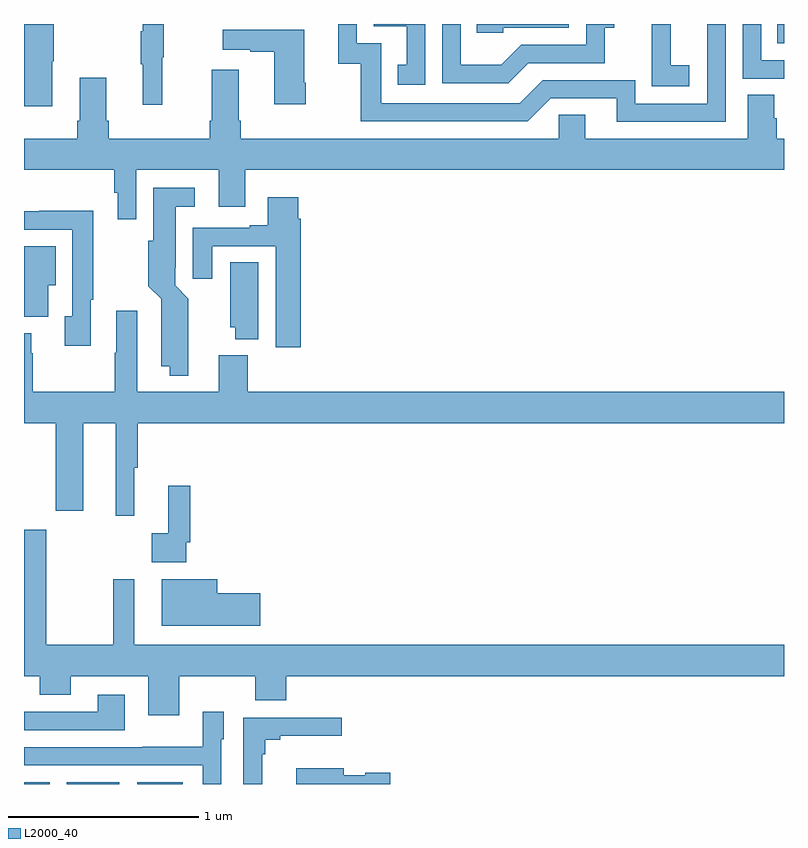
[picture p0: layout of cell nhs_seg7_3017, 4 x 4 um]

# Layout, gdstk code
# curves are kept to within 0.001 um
import gdstk
lib = gdstk.Library(unit=1e-6, precision=1e-09)
def R(c, l, rs):  # rectangles x0, y0, x1, y1
    for r in rs: c.add(gdstk.rectangle(r[:2], r[2:], *l))
def P(c, l, *ps):  # polygons
    for p in ps: c.add(gdstk.Polygon(p, *l))
L2000_40 = (2000, 40)

nhs_seg7_3017 = lib.new_cell('nhs_seg7_3017')
R(nhs_seg7_3017, L2000_40, [(303,1048,303.135,1048.008), (303.224,1048,303.502,1048.009), (303.596,1048,303.835,1048.009), (306.964,1051.898,307,1052)])
P(nhs_seg7_3017, L2000_40, [(307,1051.809),(306.879,1051.809),(306.879,1052),(306.783,1052),(306.783,1051.713),(307,1051.713)],
  [(305.112,1052),(304.842,1052),(304.842,1051.989),(305.015,1051.989),(305.015,1051.785),(304.966,1051.785),(304.966,1051.68),(305.112,1051.68)],
  [(303.148,1051.803),(303.156,1051.803),(303.156,1052),(303,1052),(303,1051.566),(303.148,1051.566)],
  [(303.728,1051.824),(303.736,1051.824),(303.736,1052),(303.626,1052),(303.626,1051.961),(303.615,1051.961),(303.615,1051.787),(303.626,1051.787),(303.626,1051.575),(303.728,1051.575)],
  [(305.653,1051.794),(306.057,1051.794),(306.057,1051.979),(306.106,1051.979),(306.106,1052),(305.958,1052),(305.958,1051.89),(305.616,1051.89),(305.512,1051.786),(305.298,1051.786),(305.298,1052),(305.202,1052),(305.202,1051.689),(305.548,1051.689)],
  [(305.523,1051.98),(305.868,1051.98),(305.868,1052),(305.383,1052),(305.383,1051.953),(305.523,1051.953)],
  [(306.502,1051.783),(306.404,1051.783),(306.404,1052),(306.305,1052),(306.305,1051.879),(306.304,1051.879),(306.304,1051.673),(306.502,1051.673)],
  [(306.693,1052),(306.597,1052),(306.597,1051.581),(306.216,1051.581),(306.216,1051.704),(305.73,1051.704),(305.61,1051.584),(304.881,1051.584),(304.881,1051.899),(304.752,1051.899),(304.752,1052),(304.655,1052),(304.655,1051.791),(304.773,1051.791),(304.773,1051.488),(305.652,1051.488),(305.772,1051.608),(306.119,1051.608),(306.119,1051.485),(306.693,1051.485)],
  [(304.482,1051.69),(304.474,1051.69),(304.474,1051.969),(304.047,1051.969),(304.047,1051.865),(304.19,1051.865),(304.19,1051.855),(304.316,1051.855),(304.316,1051.578),(304.482,1051.578)],
  [(303.591,1051.232),(304.025,1051.232),(304.025,1051.038),(304.165,1051.038),(304.165,1051.232),(307,1051.232),(307,1051.396),(306.962,1051.396),(306.962,1051.505),(306.948,1051.505),(306.948,1051.628),(306.809,1051.628),(306.809,1051.396),(305.953,1051.396),(305.953,1051.523),(305.814,1051.523),(305.814,1051.396),(304.142,1051.396),(304.142,1051.492),(304.129,1051.492),(304.129,1051.759),(303.989,1051.759),(303.989,1051.492),(303.977,1051.492),(303.977,1051.396),(303.446,1051.396),(303.446,1051.492),(303.433,1051.492),(303.433,1051.717),(303.293,1051.717),(303.293,1051.492),(303.281,1051.492),(303.281,1051.396),(303,1051.396),(303,1051.232),(303.475,1051.232),(303.475,1051.111),(303.494,1051.111),(303.494,1050.972),(303.591,1050.972)],
  [(303.864,1050.452),(303.865,1050.554),(303.795,1050.624),(303.795,1050.718),(303.799,1050.718),(303.799,1051.037),(303.898,1051.037),(303.898,1051.138),(303.68,1051.138),(303.68,1050.858),(303.655,1050.858),(303.655,1050.621),(303.722,1050.554),(303.722,1050.2),(303.767,1050.2),(303.767,1050.149),(303.864,1050.149)],
  [(304.457,1050.974),(304.444,1050.974),(304.444,1051.087),(304.283,1051.087),(304.283,1050.94),(304.187,1050.94),(304.187,1050.927),(303.887,1050.927),(303.887,1050.66),(303.991,1050.66),(303.991,1050.831),(304.325,1050.831),(304.325,1050.3),(304.457,1050.3)],
  [(303.352,1050.55),(303.364,1050.55),(303.364,1051.016),(303.079,1051.016),(303.079,1051.014),(303,1051.014),(303,1050.918),(303.255,1050.918),(303.255,1050.462),(303.215,1050.462),(303.215,1050.306),(303.352,1050.306)],
  [(303.127,1050.626),(303.166,1050.626),(303.166,1050.829),(303,1050.829),(303,1050.458),(303.127,1050.458)],
  [(304.234,1050.746),(304.085,1050.746),(304.085,1050.405),(304.112,1050.405),(304.112,1050.341),(304.234,1050.341)],
  [(303.599,1049.9),(307,1049.9),(307,1050.064),(304.178,1050.064),(304.178,1050.256),(304.025,1050.256),(304.025,1050.064),(303.595,1050.064),(303.595,1050.49),(303.485,1050.49),(303.485,1050.269),(303.478,1050.269),(303.478,1050.064),(303.045,1050.064),(303.045,1050.266),(303.037,1050.266),(303.037,1050.373),(303,1050.373),(303,1049.9),(303.166,1049.9),(303.166,1049.439),(303.313,1049.439),(303.313,1049.9),(303.482,1049.9),(303.482,1049.412),(303.581,1049.412),(303.581,1049.664),(303.599,1049.664)],
  [(303.855,1049.272),(303.875,1049.272),(303.875,1049.569),(303.758,1049.569),(303.758,1049.321),(303.672,1049.321),(303.672,1049.168),(303.855,1049.168)],
  [(303.817,1048.568),(304.217,1048.568),(304.217,1048.44),(304.381,1048.44),(304.381,1048.568),(307,1048.568),(307,1048.732),(303.58,1048.732),(303.58,1049.077),(303.471,1049.077),(303.471,1048.732),(303.118,1048.732),(303.118,1049.338),(303,1049.338),(303,1048.568),(303.083,1048.568),(303.083,1048.469),(303.247,1048.469),(303.247,1048.568),(303.653,1048.568),(303.653,1048.362),(303.817,1048.362)],
  [(304.243,1049.003),(304.018,1049.003),(304.018,1049.077),(303.725,1049.077),(303.725,1048.832),(304.243,1048.832)],
  [(303.529,1048.471),(303.389,1048.471),(303.389,1048.38),(303,1048.38),(303,1048.284),(303.529,1048.284)],
  [(304.038,1048.236),(304.051,1048.236),(304.051,1048.381),(303.942,1048.381),(303.942,1048.195),(303.625,1048.195),(303.625,1048.194),(303,1048.194),(303,1048.098),(303.942,1048.098),(303.942,1048),(304.038,1048)],
  [(304.253,1048.157),(304.271,1048.157),(304.271,1048.234),(304.348,1048.234),(304.348,1048.253),(304.672,1048.253),(304.672,1048.35),(304.155,1048.35),(304.155,1048),(304.253,1048)],
  [(304.927,1048.058),(304.797,1048.058),(304.797,1048.045),(304.684,1048.045),(304.684,1048.084),(304.433,1048.084),(304.433,1048),(304.927,1048)])

lib.write_gds('nhs_seg7_3017.gds')
